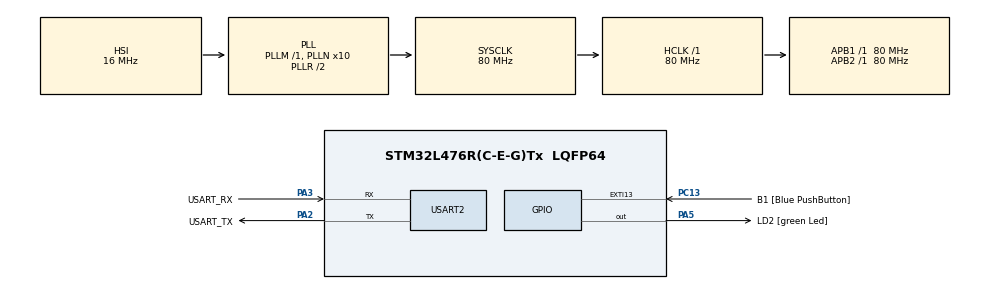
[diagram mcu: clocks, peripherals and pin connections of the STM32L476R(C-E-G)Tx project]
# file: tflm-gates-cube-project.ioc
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Mcu.Family=STM32L4
Mcu.Name=STM32L476R(C-E-G)Tx
Mcu.Package=LQFP64
NVIC.PriorityGroup=NVIC_PRIORITYGROUP_4
PA13\ (JTMS-SWDIO).GPIO_Label=TMS
PA13\ (JTMS-SWDIO).Mode=Serial_Wire
PA13\ (JTMS-SWDIO).Signal=SYS_JTMS-SWDIO
PA14\ (JTCK-SWCLK).GPIO_Label=TCK
PA14\ (JTCK-SWCLK).Mode=Serial_Wire
PA14\ (JTCK-SWCLK).Signal=SYS_JTCK-SWCLK
PA2.GPIO_Label=USART_TX
PA2.GPIO_Mode=GPIO_MODE_AF_PP
PA2.GPIO_PuPd=GPIO_NOPULL
PA2.GPIO_Speed=GPIO_SPEED_FREQ_VERY_HIGH
PA2.Mode=Asynchronous
PA2.Signal=USART2_TX
PA3.GPIO_Label=USART_RX
PA3.GPIO_Mode=GPIO_MODE_AF_PP
PA3.GPIO_PuPd=GPIO_NOPULL
PA3.GPIO_Speed=GPIO_SPEED_FREQ_VERY_HIGH
PA3.Mode=Asynchronous
PA3.Signal=USART2_RX
PA5.GPIO_Label=LD2 [green Led]
PA5.GPIO_ModeDefaultOutputPP=GPIO_MODE_OUTPUT_PP
PA5.GPIO_PuPd=GPIO_NOPULL
PA5.GPIO_Speed=GPIO_SPEED_FREQ_LOW
PA5.Signal=GPIO_Output
PB3\ (JTDO-TRACESWO).GPIO_Label=SWO
PB3\ (JTDO-TRACESWO).Signal=SYS_JTDO-SWO
PC13.GPIO_Label=B1 [Blue PushButton]
PC13.GPIO_ModeDefaultEXTI=GPIO_MODE_IT_FALLING
PC13.GPIO_PuPd=GPIO_NOPULL
PC13.Signal=GPXTI13
PC14-OSC32_IN\ (PC14).Mode=LSE-External-Oscillator
PC14-OSC32_IN\ (PC14).Signal=RCC_OSC32_IN
PC15-OSC32_OUT\ (PC15).Mode=LSE-External-Oscillator
PC15-OSC32_OUT\ (PC15).Signal=RCC_OSC32_OUT
PH0-OSC_IN\ (PH0).Signal=RCC_OSC_IN
PH1-OSC_OUT\ (PH1).Signal=RCC_OSC_OUT
ProjectManager.HeapSize=0x200
ProjectManager.StackSize=0x400
ProjectManager.TargetToolchain=STM32CubeIDE
RCC.ADCFreq_Value=64000000
RCC.AHBFreq_Value=80000000
RCC.APB1Freq_Value=80000000
RCC.APB1TimFreq_Value=80000000
RCC.APB2Freq_Value=80000000
RCC.APB2TimFreq_Value=80000000
RCC.CortexFreq_Value=80000000
RCC.HCLKFreq_Value=80000000
RCC.HSE_VALUE=8000000
RCC.HSI_VALUE=16000000
RCC.MSI_VALUE=4000000
RCC.PLLN=10
RCC.PLLSourceVirtual=RCC_PLLSOURCE_HSI
RCC.PREFETCH_ENABLE=1
RCC.SYSCLKFreq_VALUE=80000000
RCC.SYSCLKSource=RCC_SYSCLKSOURCE_PLLCLK
RCC.USBFreq_Value=64000000
RCC.VCOOutputFreq_Value=160000000
USART2.VirtualMode-Asynchronous=VM_ASYNC
board=NUCLEO-L476RG

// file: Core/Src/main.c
/* USER CODE BEGIN Header */
/**
  ******************************************************************************
  * @file           : main.c
  * @brief          : Main program body.
  * 				  Program to test the usage of TensorFlow Lite Micro (TFLM)
  * 				  on a STM32-L476RG as stand-alone application.
  * @author			: paspf
  * @date			: 2023-04-02
  * @copyright		: paspf, GNU General Public License v3.0
  ******************************************************************************
  */
/* USER CODE END Header */
#include "main.h"

/* USER CODE BEGIN Includes */
#include <stdio.h>
#include "test_gates.hpp"
#include "io_gate.hpp"
/* USER CODE END Includes */

UART_HandleTypeDef huart2;

/* USER CODE BEGIN PV */
extern int main_hello_world();
/* USER CODE END PV */

void SystemClock_Config(void);
static void MX_GPIO_Init(void);
static void MX_USART2_UART_Init(void);

/* USER CODE BEGIN 0 */
/**
 * @fn int _write(int, char*, int)
 * @brief Overwrite POSIX _write() function to use stdout.
 *
 * @param fd File descriptor.
 * @param ptr Output string.
 * @param len Length of Output string.
 * @return
 */
int _write(int fd, char* ptr, int len) {
    HAL_UART_Transmit(&huart2, (uint8_t *) ptr, len, HAL_MAX_DELAY);
    return len;
}
/* USER CODE END 0 */

int main(void)
{

  /* MCU Configuration--------------------------------------------------------*/

  /* Reset of all peripherals, Initializes the Flash interface and the Systick. */
  HAL_Init();

  /* Configure the system clock */
  SystemClock_Config();

  /* Initialize all configured peripherals */
  MX_GPIO_Init();
  MX_USART2_UART_Init();
  /* USER CODE BEGIN 2 */
  printf("TFLM tests...\n");
#if defined(__x86_64__) || defined(_M_X64)
  printf("Running on x86_64\n");
#else
  printf("Not running on x86_64 -> assume ARM (and USE STM32 Cube HAL)\n");
#endif
  test_gates();
  io_gates();
  /* USER CODE END 2 */

  /* Infinite loop */
  while (1)
  {

  }
}

void SystemClock_Config(void)
{
  RCC_OscInitTypeDef RCC_OscInitStruct = {0};
  RCC_ClkInitTypeDef RCC_ClkInitStruct = {0};

  /** Configure the main internal regulator output voltage
  */
  if (HAL_PWREx_ControlVoltageScaling(PWR_REGULATOR_VOLTAGE_SCALE1) != HAL_OK)
  {
    Error_Handler();
  }

  /** Initializes the RCC Oscillators according to the specified parameters
  * in the RCC_OscInitTypeDef structure.
  */
  RCC_OscInitStruct.OscillatorType = RCC_OSCILLATORTYPE_HSI;
  RCC_OscInitStruct.HSIState = RCC_HSI_ON;
  RCC_OscInitStruct.HSICalibrationValue = RCC_HSICALIBRATION_DEFAULT;
  RCC_OscInitStruct.PLL.PLLState = RCC_PLL_ON;
  RCC_OscInitStruct.PLL.PLLSource = RCC_PLLSOURCE_HSI;
  RCC_OscInitStruct.PLL.PLLM = 1;
  RCC_OscInitStruct.PLL.PLLN = 10;
  RCC_OscInitStruct.PLL.PLLP = RCC_PLLP_DIV7;
  RCC_OscInitStruct.PLL.PLLQ = RCC_PLLQ_DIV2;
  RCC_OscInitStruct.PLL.PLLR = RCC_PLLR_DIV2;
  if (HAL_RCC_OscConfig(&RCC_OscInitStruct) != HAL_OK)
  {
    Error_Handler();
  }

  /** Initializes the CPU, AHB and APB buses clocks
  */
  RCC_ClkInitStruct.ClockType = RCC_CLOCKTYPE_HCLK|RCC_CLOCKTYPE_SYSCLK
                              |RCC_CLOCKTYPE_PCLK1|RCC_CLOCKTYPE_PCLK2;
  RCC_ClkInitStruct.SYSCLKSource = RCC_SYSCLKSOURCE_PLLCLK;
  RCC_ClkInitStruct.AHBCLKDivider = RCC_SYSCLK_DIV1;
  RCC_ClkInitStruct.APB1CLKDivider = RCC_HCLK_DIV1;
  RCC_ClkInitStruct.APB2CLKDivider = RCC_HCLK_DIV1;

  if (HAL_RCC_ClockConfig(&RCC_ClkInitStruct, FLASH_LATENCY_4) != HAL_OK)
  {
    Error_Handler();
  }
}

static void MX_USART2_UART_Init(void)
{

  huart2.Instance = USART2;
  huart2.Init.BaudRate = 115200;
  huart2.Init.WordLength = UART_WORDLENGTH_8B;
  huart2.Init.StopBits = UART_STOPBITS_1;
  huart2.Init.Parity = UART_PARITY_NONE;
  huart2.Init.Mode = UART_MODE_TX_RX;
  huart2.Init.HwFlowCtl = UART_HWCONTROL_NONE;
  huart2.Init.OverSampling = UART_OVERSAMPLING_16;
  huart2.Init.OneBitSampling = UART_ONE_BIT_SAMPLE_DISABLE;
  huart2.AdvancedInit.AdvFeatureInit = UART_ADVFEATURE_NO_INIT;
  if (HAL_UART_Init(&huart2) != HAL_OK)
  {
    Error_Handler();
  }

}

static void MX_GPIO_Init(void)
{
  GPIO_InitTypeDef GPIO_InitStruct = {0};

  /* GPIO Ports Clock Enable */
  __HAL_RCC_GPIOC_CLK_ENABLE();
  __HAL_RCC_GPIOH_CLK_ENABLE();
  __HAL_RCC_GPIOA_CLK_ENABLE();
  __HAL_RCC_GPIOB_CLK_ENABLE();

  /*Configure GPIO pin Output Level */
  HAL_GPIO_WritePin(LD2_GPIO_Port, LD2_Pin, GPIO_PIN_RESET);

  /*Configure GPIO pin : B1_Pin */
  GPIO_InitStruct.Pin = B1_Pin;
  GPIO_InitStruct.Mode = GPIO_MODE_IT_FALLING;
  GPIO_InitStruct.Pull = GPIO_NOPULL;
  HAL_GPIO_Init(B1_GPIO_Port, &GPIO_InitStruct);

  /*Configure GPIO pin : LD2_Pin */
  GPIO_InitStruct.Pin = LD2_Pin;
  GPIO_InitStruct.Mode = GPIO_MODE_OUTPUT_PP;
  GPIO_InitStruct.Pull = GPIO_NOPULL;
  GPIO_InitStruct.Speed = GPIO_SPEED_FREQ_LOW;
  HAL_GPIO_Init(LD2_GPIO_Port, &GPIO_InitStruct);

}

void Error_Handler(void)
{
  __disable_irq();
  while (1)
  {
  }
}
